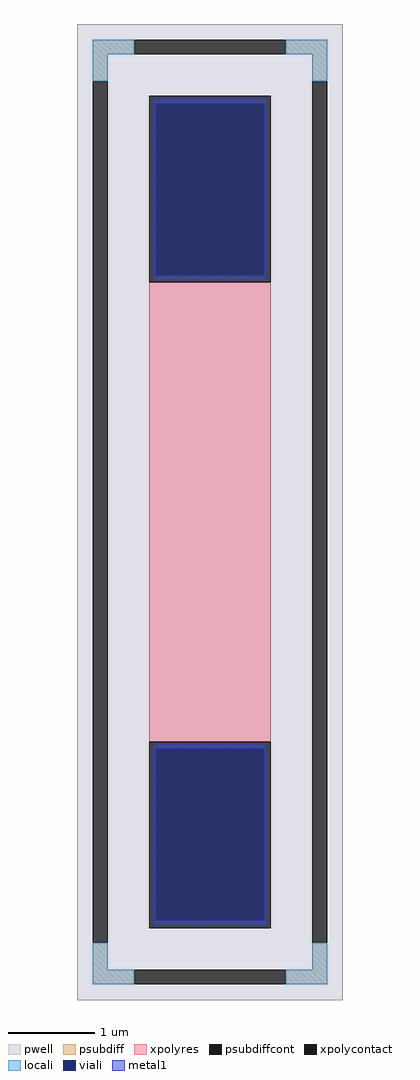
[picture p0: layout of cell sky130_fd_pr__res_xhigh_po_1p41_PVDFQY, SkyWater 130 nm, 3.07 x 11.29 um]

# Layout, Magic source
magic
tech sky130A
magscale 1 2
<< pwell >>
rect -307 -1129 307 1129
<< psubdiff >>
rect -271 1059 -175 1093
rect 175 1059 271 1093
rect -271 997 -237 1059
rect 237 997 271 1059
rect -271 -1059 -237 -997
rect 237 -1059 271 -997
rect -271 -1093 -175 -1059
rect 175 -1093 271 -1059
<< psubdiffcont >>
rect -175 1059 175 1093
rect -271 -997 -237 997
rect 237 -997 271 997
rect -175 -1093 175 -1059
<< xpolycontact >>
rect -141 531 141 963
rect -141 -963 141 -531
<< xpolyres >>
rect -141 -531 141 531
<< locali >>
rect -271 1059 -175 1093
rect 175 1059 271 1093
rect -271 997 -237 1059
rect 237 997 271 1059
rect -271 -1059 -237 -997
rect 237 -1059 271 -997
rect -271 -1093 -175 -1059
rect 175 -1093 271 -1059
<< viali >>
rect -125 548 125 945
rect -125 -945 125 -548
<< metal1 >>
rect -131 945 131 957
rect -131 548 -125 945
rect 125 548 131 945
rect -131 536 131 548
rect -131 -548 131 -536
rect -131 -945 -125 -548
rect 125 -945 131 -548
rect -131 -957 131 -945
<< properties >>
string FIXED_BBOX -254 -1076 254 1076
string gencell sky130_fd_pr__res_xhigh_po_1p41
string library sky130
string parameters w 1.410 l 5.474 m 1 nx 1 wmin 1.410 lmin 0.50 rho 2000 val 8.031k dummy 0 dw 0.0 term 188.2 sterm 0.0 caplen 0 wmax 1.410 guard 1 glc 1 grc 1 gtc 1 gbc 1 compatible {sky130_fd_pr__res_xhigh_po_0p35  sky130_fd_pr__res_xhigh_po_0p69 sky130_fd_pr__res_xhigh_po_1p41  sky130_fd_pr__res_xhigh_po_2p85 sky130_fd_pr__res_xhigh_po_5p73} snake 0 full_metal 1 n_guard 0 hv_guard 0 vias 1 viagb 0 viagt 0 viagl 0 viagr 0
<< end >>
